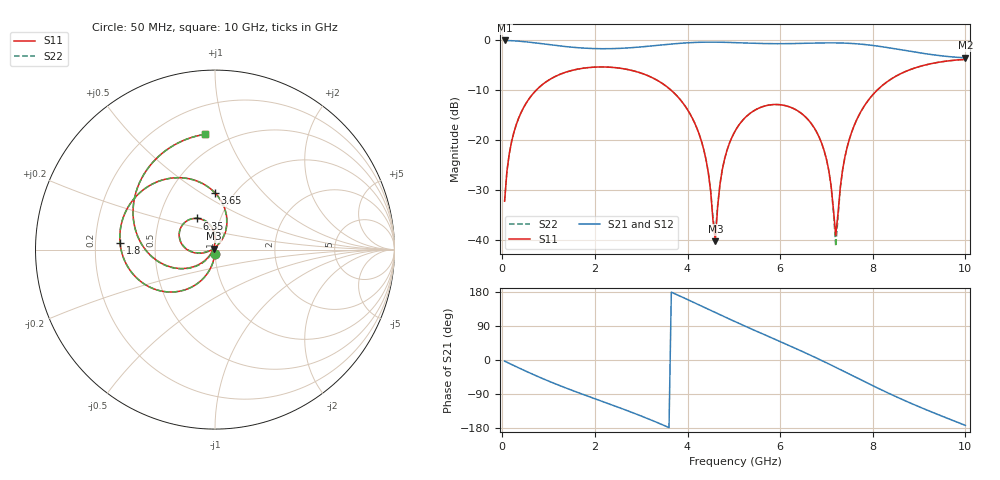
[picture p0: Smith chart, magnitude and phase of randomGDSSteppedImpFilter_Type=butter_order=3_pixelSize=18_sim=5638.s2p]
! freq	dB(S11)	phase(S11)	dB(S12)	phase(S12)
!  dB(S21)	phase(S21)	dB(S22)	phase(S22)
!S-par simulation data
#  GHz  S  DB  R 50
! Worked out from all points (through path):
!   200 points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, 50 MHz to 10 GHz, reference 50 ohm
!   highest |S21| = -0.01 dB at 50 MHz (marker M1); lowest = -3.5 dB at 10 GHz (marker M2)
!   group delay of S21, straight-line fit = 149 ps
!   lowest |S11| = -40.3 dB at 4.6 GHz (marker M3), VSWR 1.02, Z = 49.2 + j0.524 ohm
!   |S11| at or under -10 dB: start of sweep to 731.9 MHz; 3.646 GHz to 8.093 GHz (4.447 GHz wide, 75.8 % of centre)
!   |S22| runs from -41.3 to -3.8 dB; largest |S21 - S12| = 0
!   S11 on the Smith chart (normalised r, x): 50 MHz: 1.00, -0.05; 1.8 GHz: 0.31, +0.03; 3.65 GHz: 0.82, +0.57; 6.35 GHz: 0.77, +0.28; 10 GHz: 0.38, +0.84
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0.05  -32.26 -93.0  -0.01 -3.0  -0.01 -3.0  -32.26 -93.0
0.2  -20.34 -102.2  -0.06 -11.8  -0.06 -11.8  -20.34 -102.2
0.5  -12.82 -119.5  -0.27 -29.0  -0.27 -29.0  -12.82 -119.5
1.75  -5.57 178.4  -1.54 -91.1  -1.54 -91.1  -5.57 178.4
1.8  -5.51 176.2  -1.56 -93.4  -1.56 -93.4  -5.51 176.2
3.4  -8.30 102.6  -0.95 -167.8  -0.95 -167.8  -8.30 102.7
3.65  -10.03 89.8  -0.72 178.9  -0.72 178.9  -10.03 90.0
4.3  -20.21 57.4  -0.36 142.5  -0.36 142.5  -20.19 58.3
4.45  -26.63 54.8  -0.34 133.9  -0.34 133.9  -26.55 56.9
4.6  -40.29 146.6  -0.34 125.3  -0.34 125.3  -38.88 142.9
4.75  -25.97 -163.5  -0.37 116.8  -0.37 116.8  -25.91 -165.7
5.05  -17.83 -173.7  -0.45 99.9  -0.45 99.9  -17.82 -174.7
5.65  -13.21 156.0  -0.63 67.4  -0.63 67.4  -13.21 155.4
6.35  -13.97 119.9  -0.62 29.6  -0.62 29.6  -13.97 119.1
6.7  -17.05 101.8  -0.54 10.1  -0.54 10.1  -17.05 100.7
7.05  -26.07 89.3  -0.49 -10.3  -0.49 -10.3  -26.14 86.1
7.2  -39.15 152.6  -0.50 -19.3  -0.50 -19.3  -41.29 150.7
7.35  -25.87 -131.9  -0.53 -28.3  -0.53 -28.3  -25.96 -129.0
7.5  -19.65 -135.0  -0.58 -37.4  -0.58 -37.4  -19.68 -133.7
8.35  -8.04 178.4  -1.48 -88.2  -1.48 -88.2  -8.04 178.6
9.1  -5.01 138.5  -2.62 -128.6  -2.62 -128.6  -5.01 138.5
10  -3.82 95.1  -3.49 -172.6  -3.49 -172.6  -3.82 95.0
